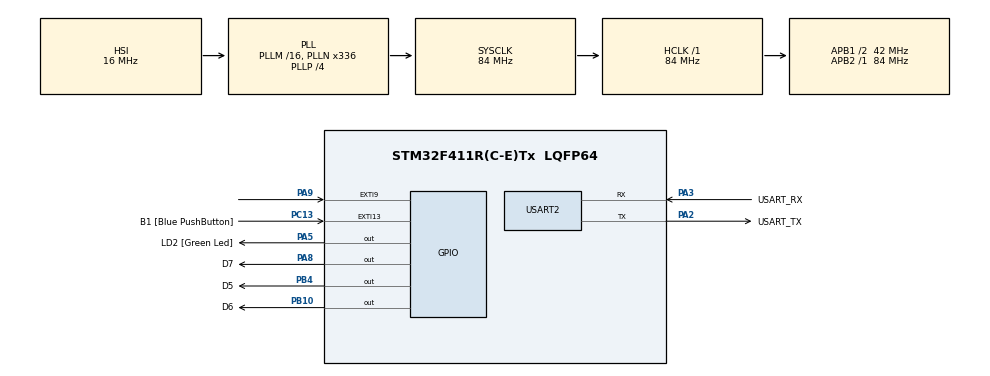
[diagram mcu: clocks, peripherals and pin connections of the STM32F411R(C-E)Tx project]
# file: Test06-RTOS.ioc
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FREERTOS.BinarySemaphores01=myBinarySem01,Dynamic,NULL
FREERTOS.Tasks01=defaultTask,1,128,StartDefaultTask,Default,NULL,Dynamic,NULL,NULL;myTask02,0,128,StartTask02,Default,NULL,Dynamic,NULL,NULL;myTask03,-1,128,StartTask03,Default,NULL,Dynamic,NULL,NULL;myTask04,-2,128,StartTask04,Default,NULL,Dynamic,NULL,NULL
FREERTOS.configUSE_NEWLIB_REENTRANT=1
Mcu.Family=STM32F4
Mcu.Name=STM32F411R(C-E)Tx
Mcu.Package=LQFP64
NVIC.EXTI15_10_IRQn=true\:5\:0\:false\:true\:true\:2\:true\:true\:true\:true
NVIC.EXTI9_5_IRQn=true\:5\:0\:false\:true\:true\:1\:true\:true\:true\:true
NVIC.PriorityGroup=NVIC_PRIORITYGROUP_4
NVIC.TIM1_TRG_COM_TIM11_IRQn=true\:15\:0\:false\:false\:true\:false\:false\:true\:true
NVIC.TimeBase=TIM1_TRG_COM_TIM11_IRQn
NVIC.TimeBaseIP=TIM11
PA13.GPIO_Label=TMS
PA13.Mode=Serial_Wire
PA13.Signal=SYS_JTMS-SWDIO
PA14.GPIO_Label=TCK
PA14.Mode=Serial_Wire
PA14.Signal=SYS_JTCK-SWCLK
PA2.GPIO_Label=USART_TX
PA2.Mode=Asynchronous
PA2.Signal=USART2_TX
PA3.GPIO_Label=USART_RX
PA3.Mode=Asynchronous
PA3.Signal=USART2_RX
PA5.GPIO_Label=LD2 [Green Led]
PA5.Signal=GPIO_Output
PA8.GPIO_Label=D7
PA8.Signal=GPIO_Output
PA9.Signal=GPXTI9
PB10.GPIO_Label=D6
PB10.Signal=GPIO_Output
PB3.GPIO_Label=SWO
PB3.Signal=SYS_JTDO-SWO
PB4.GPIO_Label=D5
PB4.Signal=GPIO_Output
PC13-ANTI_TAMP.GPIO_Label=B1 [Blue PushButton]
PC13-ANTI_TAMP.GPIO_ModeDefaultEXTI=GPIO_MODE_IT_FALLING
PC13-ANTI_TAMP.Signal=GPXTI13
PC14-OSC32_IN.Mode=LSE-External-Oscillator
PC14-OSC32_IN.Signal=RCC_OSC32_IN
PC15-OSC32_OUT.Mode=LSE-External-Oscillator
PC15-OSC32_OUT.Signal=RCC_OSC32_OUT
PH0\ -\ OSC_IN.Mode=HSE-External-Clock-Source
PH0\ -\ OSC_IN.Signal=RCC_OSC_IN
PH1\ -\ OSC_OUT.Mode=HSE-External-Clock-Source
PH1\ -\ OSC_OUT.Signal=RCC_OSC_OUT
ProjectManager.HeapSize=0x200
ProjectManager.StackSize=0x400
ProjectManager.TargetToolchain=STM32CubeIDE
RCC.48MHZClocksFreq_Value=84000000
RCC.AHBFreq_Value=84000000
RCC.APB1CLKDivider=RCC_HCLK_DIV2
RCC.APB1Freq_Value=42000000
RCC.APB1TimFreq_Value=84000000
RCC.APB2Freq_Value=84000000
RCC.APB2TimFreq_Value=84000000
RCC.CortexFreq_Value=84000000
RCC.FLatency-AdvancedSettings=FLASH_LATENCY_2
RCC.HCLKFreq_Value=84000000
RCC.HSE_VALUE=8000000
RCC.HSI_VALUE=16000000
RCC.PLLN=336
RCC.PLLP=RCC_PLLP_DIV4
RCC.SYSCLKFreq_VALUE=84000000
RCC.SYSCLKSource=RCC_SYSCLKSOURCE_PLLCLK
RCC.VCOOutputFreq_Value=336000000
USART2.VirtualMode=VM_ASYNC
VP_FREERTOS_VS_CMSIS_V1.Mode=CMSIS_V1
VP_SYS_VS_tim11.Mode=TIM11
board=NUCLEO-F411RE

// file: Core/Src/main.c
/* USER CODE BEGIN Header */
/**
  ******************************************************************************
  * @file           : main.c
  * @brief          : Main program body
  ******************************************************************************
  * @attention
  *
  * Copyright (c) 2023 STMicroelectronics.
  * All rights reserved.
  *
  * This software is licensed under terms that can be found in the LICENSE file
  * in the root directory of this software component.
  * If no LICENSE file comes with this software, it is provided AS-IS.
  *
  ******************************************************************************
  */
/* USER CODE END Header */
#include "main.h"
#include "cmsis_os.h"

UART_HandleTypeDef huart2;

osThreadId defaultTaskHandle;
osThreadId myTask02Handle;
osThreadId myTask03Handle;
osThreadId myTask04Handle;
osSemaphoreId myBinarySem01Handle;
/* USER CODE BEGIN PV */
//#include "..\\..\\..\\Lib\\MyLib.c"
#include "C:\Users\HulkL\STM32CubeIDE\workspace_1.13.0.new\\Lib\\MyLib.c"
/* USER CODE END PV */

void SystemClock_Config(void);
static void MX_GPIO_Init(void);
static void MX_USART2_UART_Init(void);
void StartDefaultTask(void const * argument);
void StartTask02(void const * argument);
void StartTask03(void const * argument);
void StartTask04(void const * argument);

static void MX_NVIC_Init(void);

/* USER CODE BEGIN 0 */
int opMode = 0;
void HAL_GPIO_EXTI_Callback(uint16_t GPIO_Pin)
{
	if(GPIO_Pin == B1_Pin)
	{
		if(++opMode == 5) opMode = 1;
		LED_Reset();
		osSemaphoreRelease(myBinarySem01Handle);
	}
	else if(GPIO_Pin == GPIO_PIN_9)
	{
		osSemaphoreRelease(myBinarySem01Handle);
	}
}

/* USER CODE END 0 */

int main(void)
{

  /* MCU Configuration--------------------------------------------------------*/

  /* Reset of all peripherals, Initializes the Flash interface and the Systick. */
  HAL_Init();

  /* Configure the system clock */
  SystemClock_Config();

  /* Initialize all configured peripherals */
  MX_GPIO_Init();
  MX_USART2_UART_Init();

  /* Initialize interrupts */
  MX_NVIC_Init();

  /* Create the semaphores(s) */
  /* definition and creation of myBinarySem01 */
  osSemaphoreDef(myBinarySem01);
  myBinarySem01Handle = osSemaphoreCreate(osSemaphore(myBinarySem01), 1);

  /* Create the thread(s) */
  /* definition and creation of defaultTask */
  osThreadDef(defaultTask, StartDefaultTask, osPriorityAboveNormal, 0, 128);
  defaultTaskHandle = osThreadCreate(osThread(defaultTask), NULL);

  /* definition and creation of myTask02 */
  osThreadDef(myTask02, StartTask02, osPriorityNormal, 0, 128);
  myTask02Handle = osThreadCreate(osThread(myTask02), NULL);

  /* definition and creation of myTask03 */
  osThreadDef(myTask03, StartTask03, osPriorityBelowNormal, 0, 128);
  myTask03Handle = osThreadCreate(osThread(myTask03), NULL);

  /* definition and creation of myTask04 */
  osThreadDef(myTask04, StartTask04, osPriorityLow, 0, 128);
  myTask04Handle = osThreadCreate(osThread(myTask04), NULL);

  /* USER CODE BEGIN RTOS_THREADS */
  /* add threads, ... */
  printf("RTOS Program Started...before Task Start....\r\n");
  while(osSemaphoreWait(myBinarySem01Handle, 0) == osOK);

  /* USER CODE END RTOS_THREADS */

  /* Start scheduler */
  osKernelStart();

  /* We should never get here as control is now taken by the scheduler */
  /* Infinite loop */
  /* USER CODE BEGIN WHILE */
  printf("RTOS Program Started....\r\n");
  while (1)
  {
    /* USER CODE END WHILE */

    /* USER CODE BEGIN 3 */
	HAL_GPIO_TogglePin(LD2_GPIO_Port, LD2_Pin);
	HAL_Delay(200);
  }
  /* USER CODE END 3 */
}

void SystemClock_Config(void)
{
  RCC_OscInitTypeDef RCC_OscInitStruct = {0};
  RCC_ClkInitTypeDef RCC_ClkInitStruct = {0};

  /** Configure the main internal regulator output voltage
  */
  __HAL_RCC_PWR_CLK_ENABLE();
  __HAL_PWR_VOLTAGESCALING_CONFIG(PWR_REGULATOR_VOLTAGE_SCALE1);

  /** Initializes the RCC Oscillators according to the specified parameters
  * in the RCC_OscInitTypeDef structure.
  */
  RCC_OscInitStruct.OscillatorType = RCC_OSCILLATORTYPE_HSI;
  RCC_OscInitStruct.HSIState = RCC_HSI_ON;
  RCC_OscInitStruct.HSICalibrationValue = RCC_HSICALIBRATION_DEFAULT;
  RCC_OscInitStruct.PLL.PLLState = RCC_PLL_ON;
  RCC_OscInitStruct.PLL.PLLSource = RCC_PLLSOURCE_HSI;
  RCC_OscInitStruct.PLL.PLLM = 16;
  RCC_OscInitStruct.PLL.PLLN = 336;
  RCC_OscInitStruct.PLL.PLLP = RCC_PLLP_DIV4;
  RCC_OscInitStruct.PLL.PLLQ = 4;
  if (HAL_RCC_OscConfig(&RCC_OscInitStruct) != HAL_OK)
  {
    Error_Handler();
  }

  /** Initializes the CPU, AHB and APB buses clocks
  */
  RCC_ClkInitStruct.ClockType = RCC_CLOCKTYPE_HCLK|RCC_CLOCKTYPE_SYSCLK
                              |RCC_CLOCKTYPE_PCLK1|RCC_CLOCKTYPE_PCLK2;
  RCC_ClkInitStruct.SYSCLKSource = RCC_SYSCLKSOURCE_PLLCLK;
  RCC_ClkInitStruct.AHBCLKDivider = RCC_SYSCLK_DIV1;
  RCC_ClkInitStruct.APB1CLKDivider = RCC_HCLK_DIV2;
  RCC_ClkInitStruct.APB2CLKDivider = RCC_HCLK_DIV1;

  if (HAL_RCC_ClockConfig(&RCC_ClkInitStruct, FLASH_LATENCY_2) != HAL_OK)
  {
    Error_Handler();
  }
}

/**
  * @brief NVIC Configuration.
  * @retval None
  */
static void MX_NVIC_Init(void)
{
  /* EXTI9_5_IRQn interrupt configuration */
  HAL_NVIC_SetPriority(EXTI9_5_IRQn, 5, 0);
  HAL_NVIC_EnableIRQ(EXTI9_5_IRQn);
  /* EXTI15_10_IRQn interrupt configuration */
  HAL_NVIC_SetPriority(EXTI15_10_IRQn, 5, 0);
  HAL_NVIC_EnableIRQ(EXTI15_10_IRQn);
}

static void MX_USART2_UART_Init(void)
{

  huart2.Instance = USART2;
  huart2.Init.BaudRate = 115200;
  huart2.Init.WordLength = UART_WORDLENGTH_8B;
  huart2.Init.StopBits = UART_STOPBITS_1;
  huart2.Init.Parity = UART_PARITY_NONE;
  huart2.Init.Mode = UART_MODE_TX_RX;
  huart2.Init.HwFlowCtl = UART_HWCONTROL_NONE;
  huart2.Init.OverSampling = UART_OVERSAMPLING_16;
  if (HAL_UART_Init(&huart2) != HAL_OK)
  {
    Error_Handler();
  }

}

static void MX_GPIO_Init(void)
{
  GPIO_InitTypeDef GPIO_InitStruct = {0};

  /* GPIO Ports Clock Enable */
  __HAL_RCC_GPIOC_CLK_ENABLE();
  __HAL_RCC_GPIOH_CLK_ENABLE();
  __HAL_RCC_GPIOA_CLK_ENABLE();
  __HAL_RCC_GPIOB_CLK_ENABLE();

  /*Configure GPIO pin Output Level */
  HAL_GPIO_WritePin(GPIOA, LD2_Pin|D7_Pin, GPIO_PIN_RESET);

  /*Configure GPIO pin Output Level */
  HAL_GPIO_WritePin(GPIOB, D6_Pin|D5_Pin, GPIO_PIN_RESET);

  /*Configure GPIO pin : B1_Pin */
  GPIO_InitStruct.Pin = B1_Pin;
  GPIO_InitStruct.Mode = GPIO_MODE_IT_FALLING;
  GPIO_InitStruct.Pull = GPIO_NOPULL;
  HAL_GPIO_Init(B1_GPIO_Port, &GPIO_InitStruct);

  /*Configure GPIO pins : LD2_Pin D7_Pin */
  GPIO_InitStruct.Pin = LD2_Pin|D7_Pin;
  GPIO_InitStruct.Mode = GPIO_MODE_OUTPUT_PP;
  GPIO_InitStruct.Pull = GPIO_NOPULL;
  GPIO_InitStruct.Speed = GPIO_SPEED_FREQ_LOW;
  HAL_GPIO_Init(GPIOA, &GPIO_InitStruct);

  /*Configure GPIO pins : D6_Pin D5_Pin */
  GPIO_InitStruct.Pin = D6_Pin|D5_Pin;
  GPIO_InitStruct.Mode = GPIO_MODE_OUTPUT_PP;
  GPIO_InitStruct.Pull = GPIO_NOPULL;
  GPIO_InitStruct.Speed = GPIO_SPEED_FREQ_LOW;
  HAL_GPIO_Init(GPIOB, &GPIO_InitStruct);

  /*Configure GPIO pin : PA9 */
  GPIO_InitStruct.Pin = GPIO_PIN_9;
  GPIO_InitStruct.Mode = GPIO_MODE_IT_RISING;
  GPIO_InitStruct.Pull = GPIO_NOPULL;
  HAL_GPIO_Init(GPIOA, &GPIO_InitStruct);

}

/* USER CODE BEGIN 4 */
void LED_Reset()
{
	  HAL_GPIO_WritePin(LD2_GPIO_Port, LD2_Pin, 0);
	  HAL_GPIO_WritePin(D5_GPIO_Port, D5_Pin, 0);
	  HAL_GPIO_WritePin(D6_GPIO_Port, D6_Pin, 0);
	  HAL_GPIO_WritePin(D7_GPIO_Port, D7_Pin, 0);
}
/* USER CODE END 4 */

void StartDefaultTask(void const * argument)
{
  /* USER CODE BEGIN 5 */
  /* Infinite loop */
  while(1)
  {
	  if(myBinarySem01Handle != NULL)
	  {
		  if(osSemaphoreWait(myBinarySem01Handle, 0) == osOK)
		  {
			  //if(opMode == 1)
			  {
				  HAL_GPIO_WritePin(LD2_GPIO_Port, LD2_Pin, 1);	  HAL_Delay(200);
				  HAL_GPIO_WritePin(LD2_GPIO_Port, LD2_Pin, 0);	  HAL_Delay(200);
			  }
			  osSemaphoreRelease(myBinarySem01Handle);
		  }
	  }
	  osDelay(1);
  }
  /* USER CODE END 5 */
}

void StartTask02(void const * argument)
{
  /* USER CODE BEGIN StartTask02 */
  /* Infinite loop */
  for(;;)
  {
	  if(myBinarySem01Handle != NULL)
	  {
		  if(osSemaphoreWait(myBinarySem01Handle, 0) == osOK)
		  {
			  //if(opMode == 2)
			  {
				  HAL_GPIO_WritePin(D5_GPIO_Port, D5_Pin, 1);	  HAL_Delay(100);
				  HAL_GPIO_WritePin(D5_GPIO_Port, D5_Pin, 0);	  HAL_Delay(100);
			  }
			  osSemaphoreRelease(myBinarySem01Handle);
		  }
	  }
	  osDelay(1);
  }
  /* USER CODE END StartTask02 */
}

void StartTask03(void const * argument)
{
  /* USER CODE BEGIN StartTask03 */
  /* Infinite loop */
  for(;;)
  {
	  if(myBinarySem01Handle != NULL)
	  {
		  if(osSemaphoreWait(myBinarySem01Handle, 0) == osOK)
		  {
			  //if(opMode == 3)
			  {
				  HAL_GPIO_WritePin(D6_GPIO_Port, D6_Pin, 1);	  HAL_Delay(100);
				  HAL_GPIO_WritePin(D6_GPIO_Port, D6_Pin, 0);	  HAL_Delay(100);
			  }
			  osSemaphoreRelease(myBinarySem01Handle);
			//HAL_Delay(200);
		  }
	  }
	  osDelay(1);
  }
  /* USER CODE END StartTask03 */
}

void StartTask04(void const * argument)
{
  /* USER CODE BEGIN StartTask04 */
  /* Infinite loop */
  for(;;)
  {
	  if(myBinarySem01Handle != NULL)
	  {
		  if(osSemaphoreWait(myBinarySem01Handle, 0) == osOK)
		  {
			  //if(opMode == 4)
			  {
				  HAL_GPIO_WritePin(D7_GPIO_Port, D7_Pin, 1);	  HAL_Delay(100);
				  HAL_GPIO_WritePin(D7_GPIO_Port, D7_Pin, 0);	  HAL_Delay(100);
			  }
			  osSemaphoreRelease(myBinarySem01Handle);
		  }
	  }
	  osDelay(1);
  }
  /* USER CODE END StartTask04 */
}

void HAL_TIM_PeriodElapsedCallback(TIM_HandleTypeDef *htim)
{
  if (htim->Instance == TIM11) {
    HAL_IncTick();
  }
}

void Error_Handler(void)
{
  __disable_irq();
  while (1)
  {
  }
}
